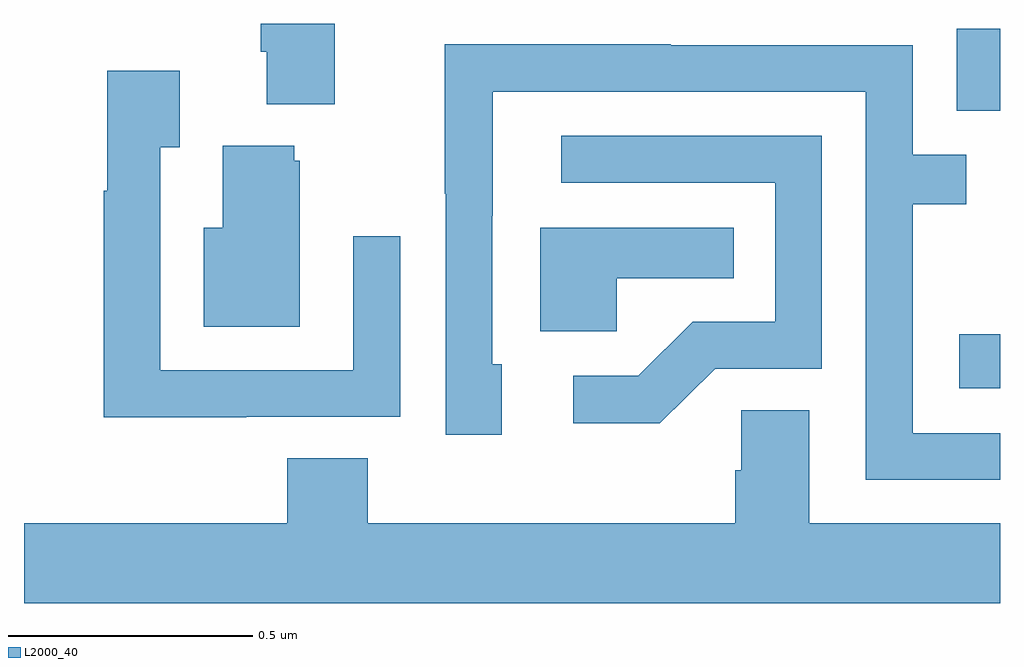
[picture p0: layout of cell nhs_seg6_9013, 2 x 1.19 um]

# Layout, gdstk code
import gdstk
lib = gdstk.Library(unit=1e-6, precision=1e-09)
def R(c, l, rs):  # rectangles x0, y0, x1, y1
    for r in rs: c.add(gdstk.rectangle(r[:2], r[2:], *l))
def P(c, l, *ps):  # polygons
    for p in ps: c.add(gdstk.Polygon(p, *l))
L2000_40 = (2000, 40)

nhs_seg6_9013 = lib.new_cell('nhs_seg6_9013')
R(nhs_seg6_9013, L2000_40, [(229.917,971.753,230,971.863), (229.911,972.321,230,972.49)])
P(nhs_seg6_9013, L2000_40, [(228.637,972.5),(228.485,972.5),(228.485,972.442),(228.497,972.442),(228.497,972.335),(228.637,972.335)],
  [(230,971.661),(229.821,971.661),(229.821,972.13),(229.931,972.13),(229.931,972.231),(229.821,972.231),(229.821,972.456),(229.325,972.456),(229.325,972.458),(228.862,972.458),(228.862,972.151),(228.864,972.151),(228.864,971.658),(228.979,971.658),(228.979,971.802),(228.96,971.802),(228.96,972.106),(228.961,972.106),(228.961,972.36),(229.725,972.36),(229.725,971.565),(230,971.565)],
  [(228.455,971.694),(228.771,971.694),(228.771,972.064),(228.675,972.064),(228.675,971.79),(228.279,971.79),(228.279,972.247),(228.319,972.247),(228.319,972.403),(228.171,972.403),(228.171,972.158),(228.163,972.158),(228.163,971.693),(228.455,971.693)],
  [(229.416,971.793),(229.635,971.793),(229.635,972.27),(229.101,972.27),(229.101,972.174),(229.539,972.174),(229.539,971.889),(229.37,971.889),(229.259,971.778),(229.125,971.778),(229.125,971.681),(229.303,971.681)],
  [(228.565,972.219),(228.554,972.219),(228.554,972.25),(228.407,972.25),(228.407,972.082),(228.368,972.082),(228.368,971.879),(228.565,971.879)],
  [(229.215,971.978),(229.454,971.978),(229.454,972.082),(229.058,972.082),(229.058,971.87),(229.215,971.87)],
  [(230,971.476),(229.609,971.476),(229.609,971.708),(229.47,971.708),(229.47,971.585),(229.457,971.585),(229.457,971.476),(228.704,971.476),(228.704,971.609),(228.539,971.609),(228.539,971.476),(228,971.476),(228,971.312),(230,971.312)])

lib.write_gds('nhs_seg6_9013.gds')
